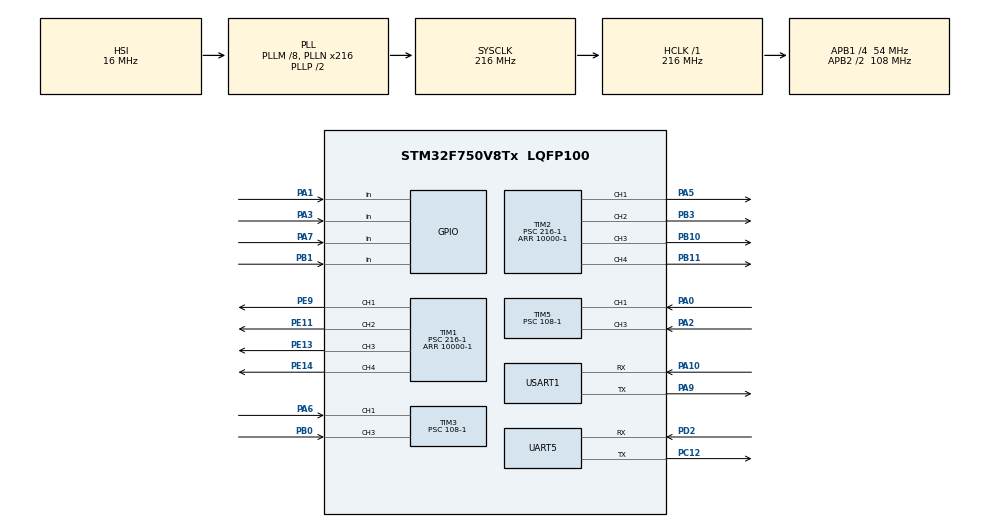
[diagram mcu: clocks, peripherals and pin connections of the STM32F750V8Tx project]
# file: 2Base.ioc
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Mcu.Family=STM32F7
Mcu.Name=STM32F750V8Tx
Mcu.Package=LQFP100
NVIC.PriorityGroup=NVIC_PRIORITYGROUP_4
NVIC.TIM3_IRQn=true\:2\:0\:true\:false\:true\:true\:true\:true
NVIC.TIM5_IRQn=true\:2\:0\:true\:false\:true\:true\:true\:true
NVIC.TIM6_DAC_IRQn=true\:1\:0\:true\:false\:true\:true\:true\:true
NVIC.UART5_IRQn=true\:0\:0\:true\:false\:true\:true\:true\:true
NVIC.USART1_IRQn=true\:1\:0\:true\:false\:true\:true\:true\:true
PA0/WKUP.Signal=S_TIM5_CH1
PA1.Signal=GPIO_Input
PA10.Mode=Asynchronous
PA10.Signal=USART1_RX
PA2.Signal=S_TIM5_CH3
PA3.Signal=GPIO_Input
PA5.Signal=S_TIM2_CH1_ETR
PA6.Signal=S_TIM3_CH1
PA7.Signal=GPIO_Input
PA9.Mode=Asynchronous
PA9.Signal=USART1_TX
PB0.Signal=S_TIM3_CH3
PB1.Signal=GPIO_Input
PB10.Signal=S_TIM2_CH3
PB11.Signal=S_TIM2_CH4
PB3.Signal=S_TIM2_CH2
PC12.Mode=Asynchronous
PC12.Signal=UART5_TX
PD2.Mode=Asynchronous
PD2.Signal=UART5_RX
PE11.Signal=S_TIM1_CH2
PE13.Signal=S_TIM1_CH3
PE14.Signal=S_TIM1_CH4
PE9.Signal=S_TIM1_CH1
PH0/OSC_IN.Mode=HSE-External-Oscillator
PH0/OSC_IN.Signal=RCC_OSC_IN
PH1/OSC_OUT.Mode=HSE-External-Oscillator
PH1/OSC_OUT.Signal=RCC_OSC_OUT
ProjectManager.HeapSize=0x200
ProjectManager.StackSize=0x400
ProjectManager.TargetToolchain=MDK-ARM V5.32
RCC.AHBFreq_Value=216000000
RCC.APB1CLKDivider=RCC_HCLK_DIV4
RCC.APB1Freq_Value=54000000
RCC.APB1TimFreq_Value=108000000
RCC.APB2CLKDivider=RCC_HCLK_DIV2
RCC.APB2Freq_Value=108000000
RCC.APB2TimFreq_Value=216000000
RCC.CortexFreq_Value=216000000
RCC.HCLKFreq_Value=216000000
RCC.HSE_VALUE=25000000
RCC.HSI_VALUE=16000000
RCC.LSE_VALUE=32768
RCC.PLLM=8
RCC.PLLN=216
RCC.SYSCLKFreq_VALUE=216000000
RCC.SYSCLKSource=RCC_SYSCLKSOURCE_PLLCLK
RCC.USBFreq_Value=216000000
RCC.VCOOutputFreq_Value=432000000
SH.S_TIM1_CH1.0=TIM1_CH1,PWM Generation1 CH1
SH.S_TIM1_CH2.0=TIM1_CH2,PWM Generation2 CH2
SH.S_TIM1_CH3.0=TIM1_CH3,PWM Generation3 CH3
SH.S_TIM1_CH4.0=TIM1_CH4,PWM Generation4 CH4
SH.S_TIM2_CH1_ETR.0=TIM2_CH1,PWM Generation1 CH1
SH.S_TIM2_CH2.0=TIM2_CH2,PWM Generation2 CH2
SH.S_TIM2_CH3.0=TIM2_CH3,PWM Generation3 CH3
SH.S_TIM2_CH4.0=TIM2_CH4,PWM Generation4 CH4
SH.S_TIM3_CH1.0=TIM3_CH1,Input_Capture1_from_TI1
SH.S_TIM3_CH3.0=TIM3_CH3,Input_Capture3_from_TI3
SH.S_TIM5_CH1.0=TIM5_CH1,Input_Capture1_from_TI1
SH.S_TIM5_CH3.0=TIM5_CH3,Input_Capture3_from_TI3
TIM1.Channel-PWM\ Generation1\ CH1=TIM_CHANNEL_1
TIM1.Channel-PWM\ Generation2\ CH2=TIM_CHANNEL_2
TIM1.Channel-PWM\ Generation3\ CH3=TIM_CHANNEL_3
TIM1.Channel-PWM\ Generation4\ CH4=TIM_CHANNEL_4
TIM1.Period=10000-1
TIM1.Prescaler=216-1
TIM2.Channel-PWM\ Generation1\ CH1=TIM_CHANNEL_1
TIM2.Channel-PWM\ Generation2\ CH2=TIM_CHANNEL_2
TIM2.Channel-PWM\ Generation3\ CH3=TIM_CHANNEL_3
TIM2.Channel-PWM\ Generation4\ CH4=TIM_CHANNEL_4
TIM2.Period=10000-1
TIM2.Prescaler=216-1
TIM3.AutoReloadPreload=TIM_AUTORELOAD_PRELOAD_ENABLE
TIM3.Channel-Input_Capture1_from_TI1=TIM_CHANNEL_1
TIM3.Channel-Input_Capture3_from_TI3=TIM_CHANNEL_3
TIM3.Prescaler=108-1
TIM5.AutoReloadPreload=TIM_AUTORELOAD_PRELOAD_ENABLE
TIM5.Channel-Input_Capture1_from_TI1=TIM_CHANNEL_1
TIM5.Channel-Input_Capture3_from_TI3=TIM_CHANNEL_3
TIM5.Period=65535
TIM5.Prescaler=108-1
TIM6.AutoReloadPreload=TIM_AUTORELOAD_PRELOAD_ENABLE
TIM6.Period=10000
TIM6.Prescaler=108-1
USART1.VirtualMode-Asynchronous=VM_ASYNC
VP_TIM6_VS_ClockSourceINT.Mode=Enable_Timer
board=custom

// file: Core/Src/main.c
/* USER CODE BEGIN Header */
/**
  ******************************************************************************
  * @file           : main.c
  * @brief          : Main program body
  ******************************************************************************
  * @attention
  *
  * Copyright (c) 2023 STMicroelectronics.
  * All rights reserved.
  *
  * This software is licensed under terms that can be found in the LICENSE file
  * in the root directory of this software component.
  * If no LICENSE file comes with this software, it is provided AS-IS.
  *
  ******************************************************************************
  */
/* USER CODE END Header */
#include "main.h"
#include "tim.h"
#include "usart.h"
#include "gpio.h"

/* USER CODE BEGIN Includes */
#include "Motor_Power.h"
#include "Motor_PID.h"
#include "GlobalClock.h"
#include "Serial.h"
#include "usmart.h"
#include "Jy61p.h"
/* USER CODE END Includes */

void SystemClock_Config(void);

int main(void)
{

  /* MCU Configuration--------------------------------------------------------*/

  /* Reset of all peripherals, Initializes the Flash interface and the Systick. */
  HAL_Init();

  /* Configure the system clock */
  SystemClock_Config();

  /* Initialize all configured peripherals */
  MX_GPIO_Init();
  MX_TIM1_Init();
  MX_TIM2_Init();
  MX_TIM3_Init();
  MX_TIM5_Init();
  MX_TIM6_Init();
  MX_USART1_UART_Init();
  MX_UART5_Init();
  /* USER CODE BEGIN 2 */
  Serial_Init();
  usmart_dev.init(108);
//huart6(ic),7(qrcode),3(mv)

  Motor_PID_Init();
  Motor_Init();
  GlobalClock_Init();
  Jy61p_Init();
  Jy61p_Enable();

//	Set_Chassis_Speed(0,50,0);
//	delay_ms(5000);
	Set_Chassis_Speed(0,0,0);
	delay_ms(500);
  /* USER CODE END 2 */

  /* Infinite loop */
  while (1)
  {

  }
}

void SystemClock_Config(void)
{
  RCC_OscInitTypeDef RCC_OscInitStruct = {0};
  RCC_ClkInitTypeDef RCC_ClkInitStruct = {0};

  /** Configure the main internal regulator output voltage
  */
  __HAL_RCC_PWR_CLK_ENABLE();
  __HAL_PWR_VOLTAGESCALING_CONFIG(PWR_REGULATOR_VOLTAGE_SCALE1);

  /** Initializes the RCC Oscillators according to the specified parameters
  * in the RCC_OscInitTypeDef structure.
  */
  RCC_OscInitStruct.OscillatorType = RCC_OSCILLATORTYPE_HSI;
  RCC_OscInitStruct.HSIState = RCC_HSI_ON;
  RCC_OscInitStruct.HSICalibrationValue = RCC_HSICALIBRATION_DEFAULT;
  RCC_OscInitStruct.PLL.PLLState = RCC_PLL_ON;
  RCC_OscInitStruct.PLL.PLLSource = RCC_PLLSOURCE_HSI;
  RCC_OscInitStruct.PLL.PLLM = 8;
  RCC_OscInitStruct.PLL.PLLN = 216;
  RCC_OscInitStruct.PLL.PLLP = RCC_PLLP_DIV2;
  RCC_OscInitStruct.PLL.PLLQ = 2;
  if (HAL_RCC_OscConfig(&RCC_OscInitStruct) != HAL_OK)
  {
    Error_Handler();
  }

  /** Activate the Over-Drive mode
  */
  if (HAL_PWREx_EnableOverDrive() != HAL_OK)
  {
    Error_Handler();
  }

  /** Initializes the CPU, AHB and APB buses clocks
  */
  RCC_ClkInitStruct.ClockType = RCC_CLOCKTYPE_HCLK|RCC_CLOCKTYPE_SYSCLK
                              |RCC_CLOCKTYPE_PCLK1|RCC_CLOCKTYPE_PCLK2;
  RCC_ClkInitStruct.SYSCLKSource = RCC_SYSCLKSOURCE_PLLCLK;
  RCC_ClkInitStruct.AHBCLKDivider = RCC_SYSCLK_DIV1;
  RCC_ClkInitStruct.APB1CLKDivider = RCC_HCLK_DIV4;
  RCC_ClkInitStruct.APB2CLKDivider = RCC_HCLK_DIV2;

  if (HAL_RCC_ClockConfig(&RCC_ClkInitStruct, FLASH_LATENCY_7) != HAL_OK)
  {
    Error_Handler();
  }
}

void Error_Handler(void)
{
  __disable_irq();
  while (1)
  {
  }
}
